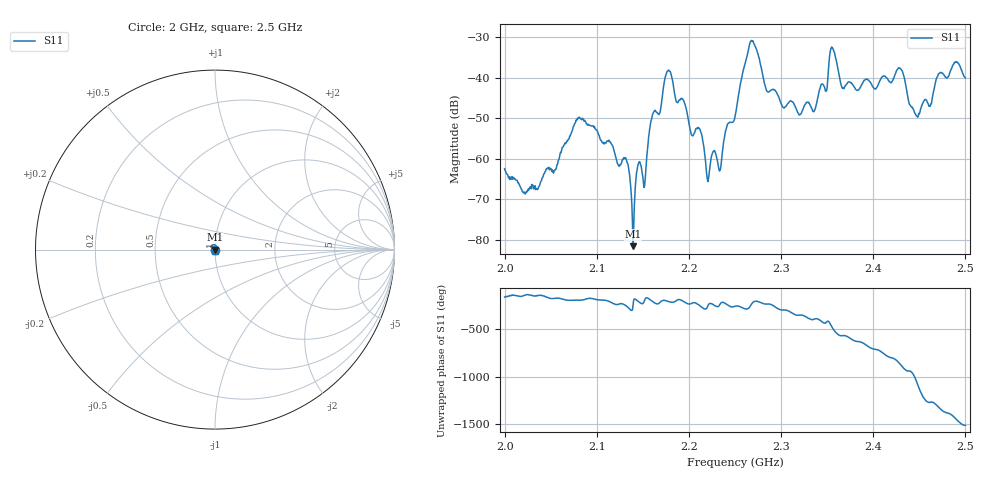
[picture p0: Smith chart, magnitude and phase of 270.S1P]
! C:\Users\rflab\Downloads\dp2_kdzw\270.S1P
! Touchstone 1.1 file saved by VNA.EXE V1.65 (www.ke5fx.com/gpib/readme.htm)
! 12/12/2024 7:07:49 PM
!  Source: HEWLETT PACKARD,8753D,0,6.14
!  Min freq: 2.000000E+009 Hz
!  Max freq: 2.500000E+009 Hz
!  Points: 801
!  Params: S21
# GHZ S MA R 50
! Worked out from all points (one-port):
!   801 points, 2 GHz to 2.5 GHz, reference 50 ohm
!   lowest |S11| = -81.6 dB at 2.139 GHz (marker M1), VSWR 1.00, Z = 50 + j0.00777 ohm
!   |S11| at or under -10 dB: start of sweep to end of sweep
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2  0.000753 -165.8
2.035  0.000421 -154.2
2.0625  0.001377 175.4
2.0825  0.003124 161.6
2.125  0.000844 123.8
2.133125  0.000884 92.6
2.139375  8.3e-05 110.7
2.145  0.000855 149.1
2.151875  0.000459 161.2
2.159375  0.003053 155.5
2.175625  0.01135 154.6
2.1875  0.004922 164.0
2.2125  0.002192 97.2
2.220625  0.000521 101.6
2.23375  0.000718 117.7
2.25  0.003291 98.0
2.268125  0.02891 123.3
2.285  0.006764 121.3
2.3125  0.005046 23.1
2.33625  0.003932 -35.9
2.355625  0.0235 -128.4
2.36625  0.007458 147.9
2.375  0.008796 120.6
2.42875  0.01311 -144.6
2.4375  0.005773 139.2
2.448125  0.003257 -3.6
2.471875  0.01139 109.1
2.5  0.00995 -74.2
